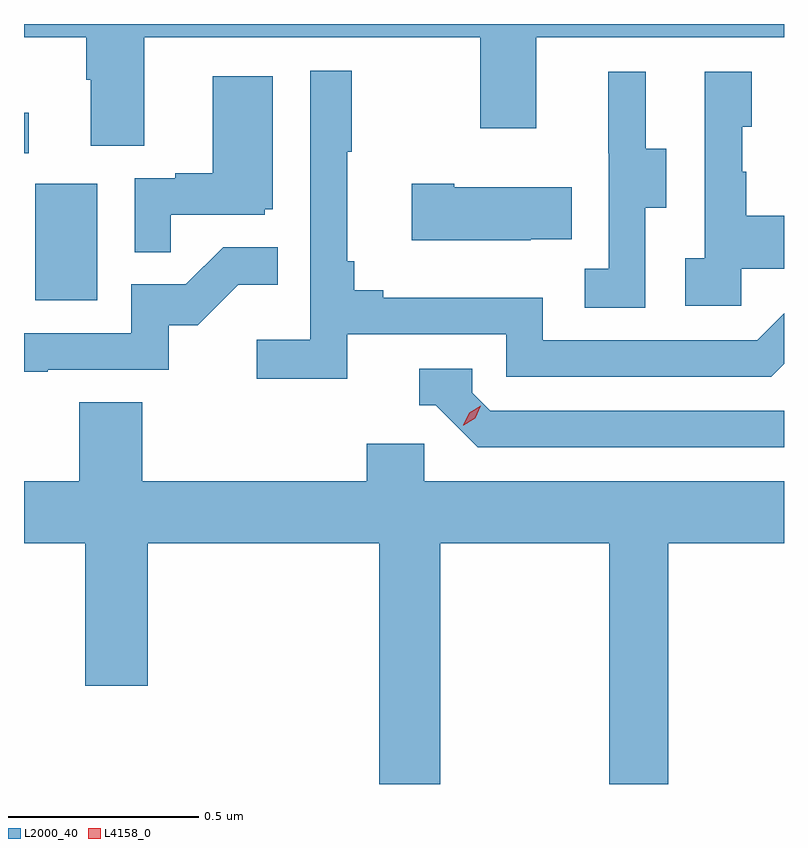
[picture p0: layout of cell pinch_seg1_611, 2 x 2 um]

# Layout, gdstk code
import gdstk
lib = gdstk.Library(unit=1e-6, precision=1e-09)
def R(c, l, rs):  # rectangles x0, y0, x1, y1
    for r in rs: c.add(gdstk.rectangle(r[:2], r[2:], *l))
def P(c, l, *ps):  # polygons
    for p in ps: c.add(gdstk.Polygon(p, *l))
L2000_40 = (2000, 40)
L4158_0 = (4158, 0)

pinch_seg1_611 = lib.new_cell('pinch_seg1_611')
R(pinch_seg1_611, L2000_40, [(1063.976,509.748,1064.14,510.055), (1063.947,510.135,1063.96,510.241)])
P(pinch_seg1_611, L2000_40, [(1064.263,510.44),(1065.148,510.44),(1065.148,510.201),(1065.295,510.201),(1065.295,510.44),(1065.947,510.44),(1065.947,510.475),(1063.947,510.475),(1063.947,510.44),(1064.111,510.44),(1064.111,510.328),(1064.123,510.328),(1064.123,510.154),(1064.263,510.154)],
  [(1064.798,509.658),(1065.216,509.658),(1065.216,509.547),(1065.913,509.547),(1065.947,509.581),(1065.947,509.714),(1065.876,509.643),(1065.312,509.643),(1065.312,509.755),(1064.893,509.755),(1064.893,509.774),(1064.816,509.774),(1064.816,509.851),(1064.797,509.851),(1064.797,510.139),(1064.809,510.139),(1064.809,510.352),(1064.7,510.352),(1064.7,509.644),(1064.559,509.644),(1064.559,509.542),(1064.798,509.542)],
  [(1065.834,509.831),(1065.947,509.831),(1065.947,509.971),(1065.847,509.971),(1065.847,510.086),(1065.837,510.086),(1065.837,510.204),(1065.862,510.204),(1065.862,510.349),(1065.738,510.349),(1065.738,509.858),(1065.687,509.858),(1065.687,509.733),(1065.834,509.733)],
  [(1065.582,509.992),(1065.637,509.992),(1065.637,510.147),(1065.583,510.147),(1065.583,510.349),(1065.485,510.349),(1065.485,510.135),(1065.486,510.135),(1065.486,509.831),(1065.423,509.831),(1065.423,509.728),(1065.582,509.728)],
  [(1064.333,509.973),(1064.58,509.973),(1064.58,509.988),(1064.602,509.988),(1064.602,510.337),(1064.444,510.337),(1064.444,510.082),(1064.345,510.082),(1064.345,510.069),(1064.238,510.069),(1064.238,509.875),(1064.333,509.875)],
  [(1065.281,509.909),(1065.389,509.909),(1065.389,510.046),(1065.079,510.046),(1065.079,510.054),(1064.967,510.054),(1064.967,509.906),(1065.281,509.906)],
  [(1064.009,509.565),(1064.328,509.565),(1064.328,509.682),(1064.404,509.682),(1064.511,509.789),(1064.615,509.789),(1064.615,509.888),(1064.471,509.888),(1064.373,509.79),(1064.229,509.79),(1064.229,509.661),(1063.947,509.661),(1063.947,509.56),(1064.009,509.56)],
  [(1065.947,509.457),(1065.174,509.457),(1065.126,509.505),(1065.126,509.568),(1064.987,509.568),(1064.987,509.472),(1065.03,509.472),(1065.141,509.361),(1065.947,509.361)],
  [(1065,509.37),(1064.849,509.37),(1064.849,509.272),(1064.258,509.272),(1064.258,509.48),(1064.093,509.48),(1064.093,509.272),(1063.947,509.272),(1063.947,509.108),(1064.108,509.108),(1064.108,508.734),(1064.272,508.734),(1064.272,509.108),(1064.882,509.108),(1064.882,508.475),(1065.042,508.475),(1065.042,509.108),(1065.487,509.108),(1065.487,508.475),(1065.642,508.475),(1065.642,509.108),(1065.947,509.108),(1065.947,509.272),(1065,509.272)])
P(pinch_seg1_611, L4158_0, [(1065.103,509.419),(1065.103,509.419),(1065.119,509.452),(1065.149,509.471),(1065.149,509.471),(1065.149,509.471),(1065.134,509.438),(1065.104,509.419)])

lib.write_gds('pinch_seg1_611.gds')
